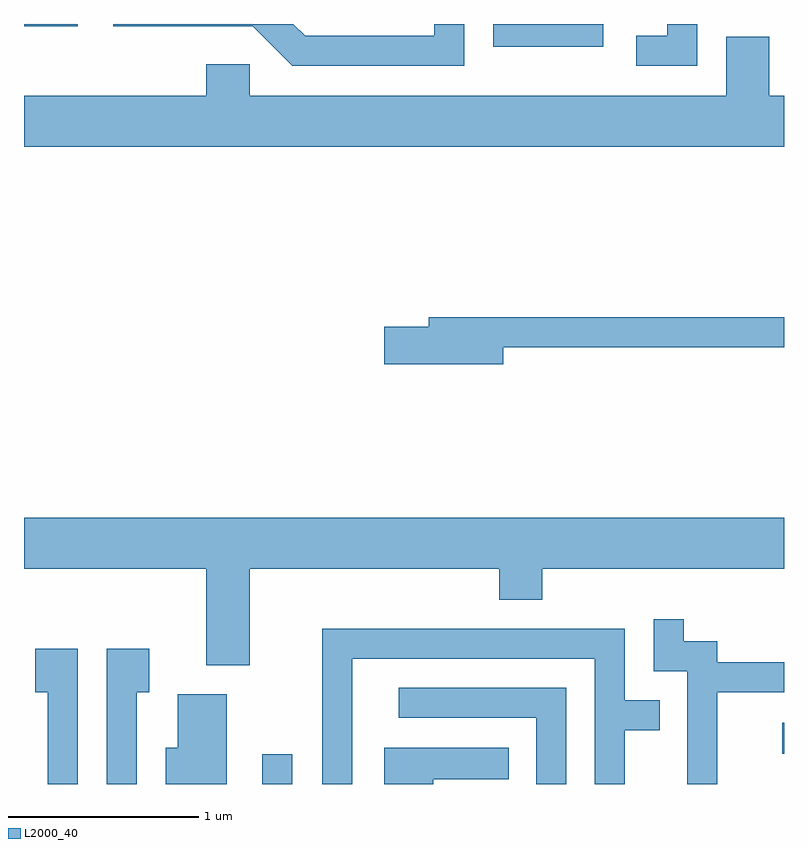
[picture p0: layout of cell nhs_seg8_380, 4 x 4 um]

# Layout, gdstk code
import gdstk
lib = gdstk.Library(unit=1e-6, precision=1e-09)
def R(c, l, rs):  # rectangles x0, y0, x1, y1
    for r in rs: c.add(gdstk.rectangle(r[:2], r[2:], *l))
def P(c, l, *ps):  # polygons
    for p in ps: c.add(gdstk.Polygon(p, *l))
L2000_40 = (2000, 40)

nhs_seg8_380 = lib.new_cell('nhs_seg8_380')
R(nhs_seg8_380, L2000_40, [(196.866,1886.342,197.024,1886.498), (199.603,1886.501,199.611,1886.664), (195.611,1890.331,195.894,1890.342)])
P(nhs_seg8_380, L2000_40, [(199.154,1890.342),(198.996,1890.342),(198.996,1890.279),(198.833,1890.279),(198.833,1890.121),(199.154,1890.121)],
  [(198.659,1890.339),(198.662,1890.342),(198.081,1890.342),(198.081,1890.221),(198.659,1890.221)],
  [(197.929,1890.342),(197.771,1890.342),(197.771,1890.279),(197.092,1890.279),(197.029,1890.342),(196.081,1890.342),(196.081,1890.331),(196.814,1890.331),(197.024,1890.121),(197.929,1890.121)],
  [(199.611,1889.964),(199.534,1889.964),(199.534,1890.274),(199.306,1890.274),(199.306,1889.964),(196.799,1889.964),(196.799,1890.129),(196.571,1890.129),(196.571,1889.964),(195.611,1889.964),(195.611,1889.696),(199.611,1889.696)],
  [(198.134,1888.641),(199.611,1888.641),(199.611,1888.799),(197.741,1888.799),(197.741,1888.749),(197.506,1888.749),(197.506,1888.551),(198.134,1888.551)],
  [(196.799,1887.476),(198.111,1887.476),(198.111,1887.311),(198.339,1887.311),(198.339,1887.476),(199.611,1887.476),(199.611,1887.744),(195.611,1887.744),(195.611,1887.476),(196.571,1887.476),(196.571,1886.966),(196.799,1886.966)],
  [(199.259,1886.826),(199.611,1886.826),(199.611,1886.984),(199.259,1886.984),(199.259,1887.094),(199.084,1887.094),(199.084,1887.208),(198.926,1887.208),(198.926,1886.936),(199.101,1886.936),(199.101,1886.342),(199.259,1886.342)],
  [(197.339,1887.001),(198.616,1887.001),(198.616,1886.342),(198.774,1886.342),(198.774,1886.626),(198.958,1886.626),(198.958,1886.784),(198.774,1886.784),(198.774,1887.159),(197.181,1887.159),(197.181,1886.342),(197.339,1886.342)],
  [(196.204,1886.826),(196.269,1886.826),(196.269,1887.054),(196.046,1887.054),(196.046,1886.342),(196.204,1886.342)],
  [(195.894,1887.054),(195.671,1887.054),(195.671,1886.826),(195.736,1886.826),(195.736,1886.342),(195.894,1886.342)],
  [(198.464,1886.849),(197.583,1886.849),(197.583,1886.691),(198.306,1886.691),(198.306,1886.342),(198.464,1886.342)],
  [(196.679,1886.814),(196.421,1886.814),(196.421,1886.534),(196.356,1886.534),(196.356,1886.342),(196.679,1886.342)],
  [(197.764,1886.366),(198.163,1886.366),(198.163,1886.534),(197.506,1886.534),(197.506,1886.342),(197.764,1886.342)])

lib.write_gds('nhs_seg8_380.gds')
